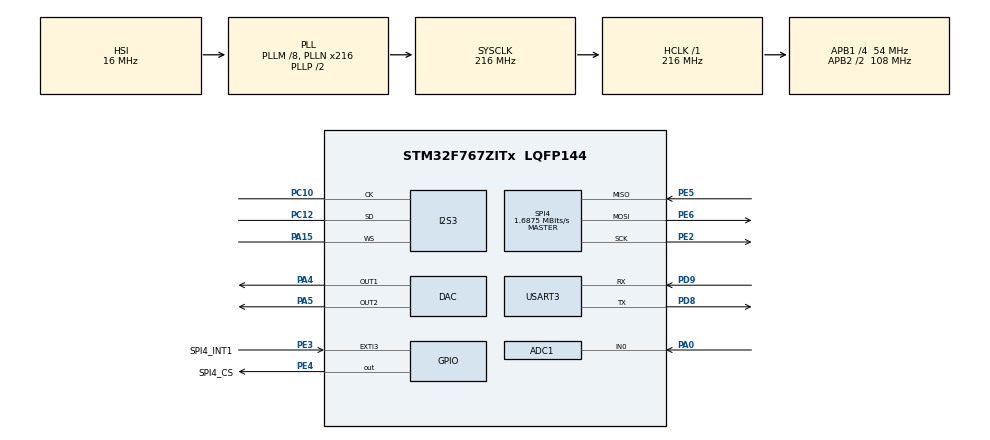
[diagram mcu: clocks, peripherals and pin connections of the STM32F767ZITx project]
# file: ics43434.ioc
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ADC1.Channel-1\#ChannelRegularConversion=ADC_CHANNEL_0
ADC1.ContinuousConvMode=DISABLE
ADC1.EOCSelection=ADC_EOC_SEQ_CONV
ADC1.ExternalTrigConv=ADC_EXTERNALTRIGCONV_T6_TRGO
ADC1.NbrOfConversionFlag=1
ADC1.Rank-1\#ChannelRegularConversion=1
ADC1.SamplingTime-1\#ChannelRegularConversion=ADC_SAMPLETIME_3CYCLES
ADC1.master=1
DAC.DAC_Trigger2=DAC_TRIGGER_T2_TRGO
Dma.DAC2.0.Direction=DMA_MEMORY_TO_PERIPH
Dma.DAC2.0.FIFOMode=DMA_FIFOMODE_DISABLE
Dma.DAC2.0.Instance=DMA1_Stream6
Dma.DAC2.0.MemDataAlignment=DMA_MDATAALIGN_WORD
Dma.DAC2.0.MemInc=DMA_MINC_ENABLE
Dma.DAC2.0.Mode=DMA_CIRCULAR
Dma.DAC2.0.PeriphDataAlignment=DMA_PDATAALIGN_WORD
Dma.DAC2.0.PeriphInc=DMA_PINC_DISABLE
Dma.DAC2.0.Priority=DMA_PRIORITY_VERY_HIGH
Dma.Request0=DAC2
Dma.Request1=SPI3_RX
Dma.SPI3_RX.1.Direction=DMA_PERIPH_TO_MEMORY
Dma.SPI3_RX.1.FIFOMode=DMA_FIFOMODE_DISABLE
Dma.SPI3_RX.1.Instance=DMA1_Stream0
Dma.SPI3_RX.1.MemDataAlignment=DMA_MDATAALIGN_WORD
Dma.SPI3_RX.1.MemInc=DMA_MINC_ENABLE
Dma.SPI3_RX.1.Mode=DMA_NORMAL
Dma.SPI3_RX.1.PeriphDataAlignment=DMA_PDATAALIGN_WORD
Dma.SPI3_RX.1.PeriphInc=DMA_PINC_DISABLE
Dma.SPI3_RX.1.Priority=DMA_PRIORITY_LOW
I2S3.AudioFreq=I2S_AUDIOFREQ_32K
I2S3.CPOL=I2S_CPOL_HIGH
I2S3.DataFormat=I2S_DATAFORMAT_24B
I2S3.ErrorAudioFreq=-0.26 %
I2S3.FullDuplexMode=I2S_FULLDUPLEXMODE_DISABLE
I2S3.Instance=SPI$Index
I2S3.Mode=I2S_MODE_MASTER_RX
I2S3.RealAudioFreq=31.914 KHz
I2S3.VirtualMode=I2S_MODE_MASTER
Mcu.Family=STM32F7
Mcu.Name=STM32F767ZITx
Mcu.Package=LQFP144
NVIC.ADC_IRQn=true\:0\:0\:false\:false\:true\:true\:true\:true
NVIC.DMA1_Stream0_IRQn=true\:0\:0\:false\:false\:true\:false\:true\:true
NVIC.DMA1_Stream6_IRQn=true\:0\:0\:false\:false\:true\:false\:true\:true
NVIC.EXTI3_IRQn=true\:0\:0\:false\:false\:true\:true\:true\:true
NVIC.PriorityGroup=NVIC_PRIORITYGROUP_4
NVIC.TIM2_IRQn=true\:0\:0\:false\:false\:true\:true\:true\:true
NVIC.USART3_IRQn=true\:0\:0\:false\:false\:true\:true\:true\:true
PA0/WKUP.Signal=ADCx_IN0
PA13.GPIO_Label=TMS
PA13.Mode=Serial_Wire
PA13.Signal=SYS_JTMS-SWDIO
PA14.GPIO_Label=TCK
PA14.Mode=Serial_Wire
PA14.Signal=SYS_JTCK-SWCLK
PA15.Mode=Half_Duplex_Master
PA15.Signal=I2S3_WS
PA4.Signal=COMP_DAC1_group
PA5.Signal=COMP_DAC2_group
PC10.Mode=Half_Duplex_Master
PC10.Signal=I2S3_CK
PC12.Mode=Half_Duplex_Master
PC12.Signal=I2S3_SD
PD8.Mode=Asynchronous
PD8.Signal=USART3_TX
PD9.Mode=Asynchronous
PD9.Signal=USART3_RX
PE2.Mode=Full_Duplex_Master
PE2.Signal=SPI4_SCK
PE3.GPIO_Label=SPI4_INT1
PE3.Signal=GPXTI3
PE4.GPIO_Label=SPI4_CS
PE4.Signal=GPIO_Output
PE5.Mode=Full_Duplex_Master
PE5.Signal=SPI4_MISO
PE6.Mode=Full_Duplex_Master
PE6.Signal=SPI4_MOSI
PG10.Signal=I2S1_WS
ProjectManager.HeapSize=0x200
ProjectManager.StackSize=0x400
ProjectManager.TargetToolchain=STM32CubeIDE
RCC.48MHZClocksFreq_Value=24000000
RCC.AHBFreq_Value=216000000
RCC.APB1CLKDivider=RCC_HCLK_DIV4
RCC.APB1Freq_Value=54000000
RCC.APB1TimFreq_Value=108000000
RCC.APB2CLKDivider=RCC_HCLK_DIV2
RCC.APB2Freq_Value=108000000
RCC.APB2TimFreq_Value=216000000
RCC.CortexFreq_Value=216000000
RCC.HCLKFreq_Value=216000000
RCC.HSE_VALUE=16000000
RCC.HSI_VALUE=16000000
RCC.LSE_VALUE=32768
RCC.PLLM=8
RCC.PLLMUL=RCC_PLL_MUL9
RCC.PLLN=216
RCC.PRESCALERUSB=RCC_USBCLKSOURCE_PLL_DIV1_5
RCC.SYSCLKFreq_VALUE=216000000
RCC.SYSCLKSource=RCC_SYSCLKSOURCE_PLLCLK
RCC.SYSCLKSourceVirtual=RCC_SYSCLKSOURCE_PLLCLK
RCC.USBFreq_Value=216000000
RCC.VCOOutputFreq_Value=432000000
SH.ADCx_IN0.0=ADC1_IN0,IN0
SH.COMP_DAC1_group.0=DAC_OUT1,DAC_OUT1
SH.COMP_DAC2_group.0=DAC_OUT2,DAC_OUT2
SPI4.BaudRatePrescaler=SPI_BAUDRATEPRESCALER_64
SPI4.CLKPhase=SPI_PHASE_2EDGE
SPI4.CLKPolarity=SPI_POLARITY_HIGH
SPI4.CalculateBaudRate=1.6875 MBits/s
SPI4.DataSize=SPI_DATASIZE_8BIT
SPI4.Direction=SPI_DIRECTION_2LINES
SPI4.Mode=SPI_MODE_MASTER
SPI4.VirtualType=VM_MASTER
TIM2.Period=36000-1
TIM2.Prescaler=1-1
TIM2.TIM_MasterOutputTrigger=TIM_TRGO_UPDATE
TIM6.AutoReloadPreload=TIM_AUTORELOAD_PRELOAD_DISABLE
TIM6.Prescaler=0
TIM6.TIM_MasterOutputTrigger=TIM_TRGO_UPDATE
USART3.VirtualMode-Asynchronous=VM_ASYNC
VP_TIM2_VS_ClockSourceINT.Mode=Internal
VP_TIM6_VS_ClockSourceINT.Mode=Enable_Timer
board=NUCLEO-F767ZI

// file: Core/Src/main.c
/* USER CODE BEGIN Header */
/**
  ******************************************************************************
  * @file           : main.c
  * @brief          : Main program body
  ******************************************************************************
  * @attention
  *
  * <h2><center>&copy; Copyright (c) 2021 STMicroelectronics.
  * All rights reserved.</center></h2>
  *
  * This software component is licensed by ST under BSD 3-Clause license,
  * the "License"; You may not use this file except in compliance with the
  * License. You may obtain a copy of the License at:
  *                        opensource.org/licenses/BSD-3-Clause
  *
  ******************************************************************************
  */
/* USER CODE END Header */
#include "main.h"
#include "adc.h"
#include "dac.h"
#include "dma.h"
#include "i2s.h"
#include "spi.h"
#include "tim.h"
#include "usart.h"
#include "gpio.h"

/* USER CODE BEGIN Includes */
#include <string.h>
#include "commands.h"
#include "interface.h" // print startup message
#include "adxl313.h"
#include "ics43434.h"

/* USER CODE END Includes */

/* USER CODE BEGIN PV */
char last_valid_cmd[RX_BUFF_LEN] = {0};

static adxl313_dev *acc_ptr;

/* USER CODE END PV */

void SystemClock_Config(void);

/* USER CODE BEGIN 0 */

void HAL_GPIO_EXTI_Callback(uint16_t GPIO_Pin)
{
    /* If The INT Source Is EXTI Line3 (PE3 Pin) */
    if(GPIO_Pin == SPI4_INT1_Pin)
    {
      acc_ptr->data_ready = true;
    }
}

void HAL_I2S_RxHalfCpltCallback(I2S_HandleTypeDef *hi2s)
{
  UART_puts("Half Full\n\r");
}

void HAL_I2S_RxCpltCallback(I2S_HandleTypeDef *hi2s)
{
  UART_puts("Completed \n\r");
}

/* USER CODE END 0 */

int main(void)
{
  /* USER CODE BEGIN 1 */
  char c;
  char str[64];
  int err;

  adxl313_dev   acc_dev;  // accelerometer
  ics43434_dev  mic_dev;  // microphone

  // uint16_t i2s_dma_buff[I2S_DMA_BUF_LEN] = {0};

  /* USER CODE END 1 */

  /* MCU Configuration--------------------------------------------------------*/

  /* Reset of all peripherals, Initializes the Flash interface and the Systick. */
  HAL_Init();

  /* Configure the system clock */
  SystemClock_Config();

  /* Initialize all configured peripherals */
  MX_GPIO_Init();
  MX_DMA_Init();
  MX_USART3_UART_Init();
  MX_ADC1_Init();
  MX_DAC_Init();
  MX_TIM2_Init();
  MX_TIM6_Init();
  MX_SPI4_Init();
  MX_I2S3_Init();
  /* USER CODE BEGIN 2 */
  // print startup message
  ver_cb(1, NULL);
  UART_puts("\n\rType '?' for list of available commands\n\r");
  UART_puts("Type '? <cmd>' for more info on a given command\n\r");

  HAL_GPIO_WritePin(SPI4_CS_GPIO_Port, SPI4_CS_Pin, (GPIO_PinState)GPIO_PIN_SET);

  /* USER CODE END 2 */

  /* Infinite loop */
  /* USER CODE BEGIN WHILE */

  /* Initialize accelerometer */
  // adxl313_begin(&acc_dev, ADXL313_SPI_COMM, ADXL313_4G_RANGE, ADXL313_FULL_RES, 3200);
  // acc_ptr = &acc_dev;

  UART_putchar('>'); // print prompt
  Rx_UART_init(); // set USART3 interrupt

  err = ics43434_begin(&mic_dev, &hi2s3);
  if(err)
  {
    UART_puts(hal_error_print[err++]);
  }

  while (1)
  {
    if(Rx_flag)
    {
      c = UART_Receive(); // Returns received char
      if(c != (char)(-1))
        // Its not a special character
        UART_putchar(c); // Received char is echoed

      Rx_flag = 0;
    }

    if(cmd_received)
    {
      if(exec_cmd(Rx_Buffer) == 0)// Is there an error?
        // No error. Command is valid
        strcpy(last_valid_cmd, Rx_Buffer); // Save this as last valid command

      UART_putchar('>');// print prompt
      cmd_received = 0;
      Rx_UART_init(); // ready to begin reception
    }

    if(acc_ptr->data_ready)
    {
      acc_ptr->data_ready = false;

      adxl313_read_accel(acc_ptr);

      sprintf(str, "x:%1.4f \t y:%1.4f \t z:%1.4f \n\r", acc_ptr->x, acc_ptr->y, acc_ptr->z);
      UART_puts(str);
    }

    /* USER CODE END WHILE */

  }
}

void SystemClock_Config(void)
{
  RCC_OscInitTypeDef RCC_OscInitStruct = {0};
  RCC_ClkInitTypeDef RCC_ClkInitStruct = {0};

  /** Configure the main internal regulator output voltage
  */
  __HAL_RCC_PWR_CLK_ENABLE();
  __HAL_PWR_VOLTAGESCALING_CONFIG(PWR_REGULATOR_VOLTAGE_SCALE1);

  /** Initializes the RCC Oscillators according to the specified parameters
  * in the RCC_OscInitTypeDef structure.
  */
  RCC_OscInitStruct.OscillatorType = RCC_OSCILLATORTYPE_HSI;
  RCC_OscInitStruct.HSIState = RCC_HSI_ON;
  RCC_OscInitStruct.HSICalibrationValue = RCC_HSICALIBRATION_DEFAULT;
  RCC_OscInitStruct.PLL.PLLState = RCC_PLL_ON;
  RCC_OscInitStruct.PLL.PLLSource = RCC_PLLSOURCE_HSI;
  RCC_OscInitStruct.PLL.PLLM = 8;
  RCC_OscInitStruct.PLL.PLLN = 216;
  RCC_OscInitStruct.PLL.PLLP = RCC_PLLP_DIV2;
  RCC_OscInitStruct.PLL.PLLQ = 2;
  RCC_OscInitStruct.PLL.PLLR = 2;
  if (HAL_RCC_OscConfig(&RCC_OscInitStruct) != HAL_OK)
  {
    Error_Handler();
  }

  /** Activate the Over-Drive mode
  */
  if (HAL_PWREx_EnableOverDrive() != HAL_OK)
  {
    Error_Handler();
  }

  /** Initializes the CPU, AHB and APB buses clocks
  */
  RCC_ClkInitStruct.ClockType = RCC_CLOCKTYPE_HCLK|RCC_CLOCKTYPE_SYSCLK
                              |RCC_CLOCKTYPE_PCLK1|RCC_CLOCKTYPE_PCLK2;
  RCC_ClkInitStruct.SYSCLKSource = RCC_SYSCLKSOURCE_PLLCLK;
  RCC_ClkInitStruct.AHBCLKDivider = RCC_SYSCLK_DIV1;
  RCC_ClkInitStruct.APB1CLKDivider = RCC_HCLK_DIV4;
  RCC_ClkInitStruct.APB2CLKDivider = RCC_HCLK_DIV2;

  if (HAL_RCC_ClockConfig(&RCC_ClkInitStruct, FLASH_LATENCY_7) != HAL_OK)
  {
    Error_Handler();
  }
}

void Error_Handler(void)
{
  __disable_irq();
  while (1)
  {
  }
}
